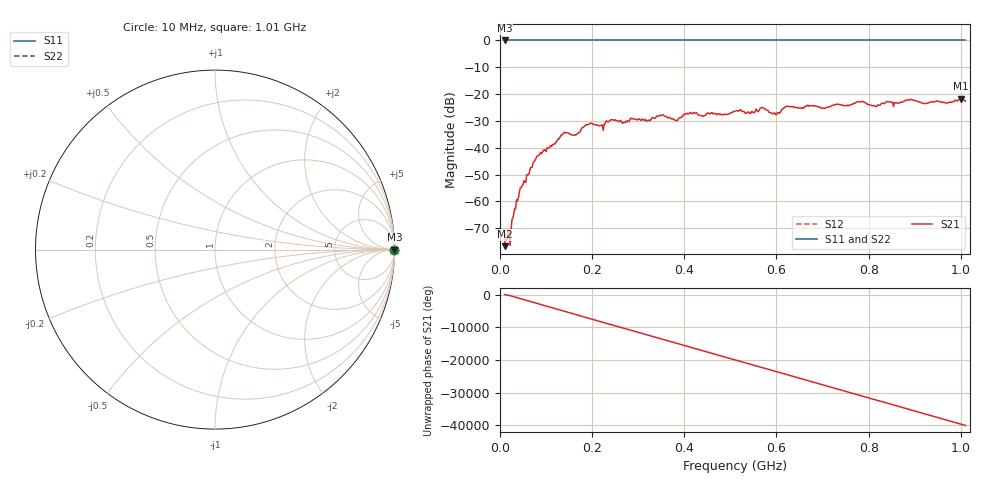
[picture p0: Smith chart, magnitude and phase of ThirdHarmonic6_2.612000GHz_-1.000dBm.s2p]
! 8/17/2025 5:43:37 AM
! C:\ANRITSUVNA\TEMP\TEMP.S2P
! CHANNEL.1
! TR.MEASUREMENT
! RAW.DATA
! RF.CORRECTION.OFF
! AVERAGING.OFF
! IF.BANDWIDTH: 5KHZ
! SWEEPTYPE:  FREQ.SWEEP(Linear)
! Reference Plane Port Info
! PORT:  PORT1  PORT2
! DISTANCE:  0  m  0  m
! TIME:  0  s  0  s
! PHASE.OFFSET:  0  deg.  0  deg.
! LOSS:  0  dB  0  dB
! REF.LOSS:  0  dB  0  dB
! REF.FREQ:  0  Hz  0  Hz
! Power Info
! POWER:  -20  dBm  -20  dBm
! EFF.POWER:  -20  dBm  -20  dBm
! SOURCE.ATTEN:  0  dB  0  dB
! TEST.ATTEN:  0  dB  0  dB
# GHZ S RI R 50.0
! FREQ.GHZ  S11RE  S11IM  S21RE  S21IM  S12RE  S12IM  S22RE  S22IM
!; PortSelection: Port_12
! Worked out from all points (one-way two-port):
!   501 points, 10 MHz to 1.01 GHz, reference 50 ohm
!   highest |S21| = -21.66 dB at 1 GHz (marker M1); lowest = -76.7 dB at 10 MHz (marker M2)
!   lowest |S11| = 0.0 dB at 10 MHz (marker M3)
!   |S11| at or under -10 dB: nowhere
!   |S22| runs from 0.0 to 0.0 dB; largest |S21 - S12| = 1.1
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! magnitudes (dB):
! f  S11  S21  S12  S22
! 10 MHz  0.0  -76.7  0.0  0.0
! 24 MHz  0.0  -70.7  0.0  0.0
! 32 MHz  0.0  -62.6  0.0  0.0
! 46 MHz  0.0  -54.8  0.0  0.0
! 78 MHz  0.0  -44.0  0.0  0.0
! 136 MHz  0.0  -35.1  0.0  0.0
! 162 MHz  0.0  -35.2  0.0  0.0
! 178 MHz  0.0  -32.6  0.0  0.0
! 242 MHz  0.0  -29.5  0.0  0.0
! 322 MHz  0.0  -29.7  0.0  0.0
! 344 MHz  0.0  -28.2  0.0  0.0
! 382 MHz  0.0  -29.8  0.0  0.0
! 410 MHz  0.0  -27.3  0.0  0.0
! 510 MHz  0.0  -26.4  0.0  0.0
! 570 MHz  0.0  -24.9  0.0  0.0
! 596 MHz  0.0  -27.0  0.0  0.0
! 622 MHz  0.0  -24.5  0.0  0.0
! 678 MHz  0.0  -24.4  0.0  0.0
! 814 MHz  0.0  -24.4  0.0  0.0
! 844 MHz  0.0  -22.8  0.0  0.0
! 1 GHz  0.0  -21.7  0.0  0.0
! 1.01 GHz  0.0  -22.6  0.0  0.0
